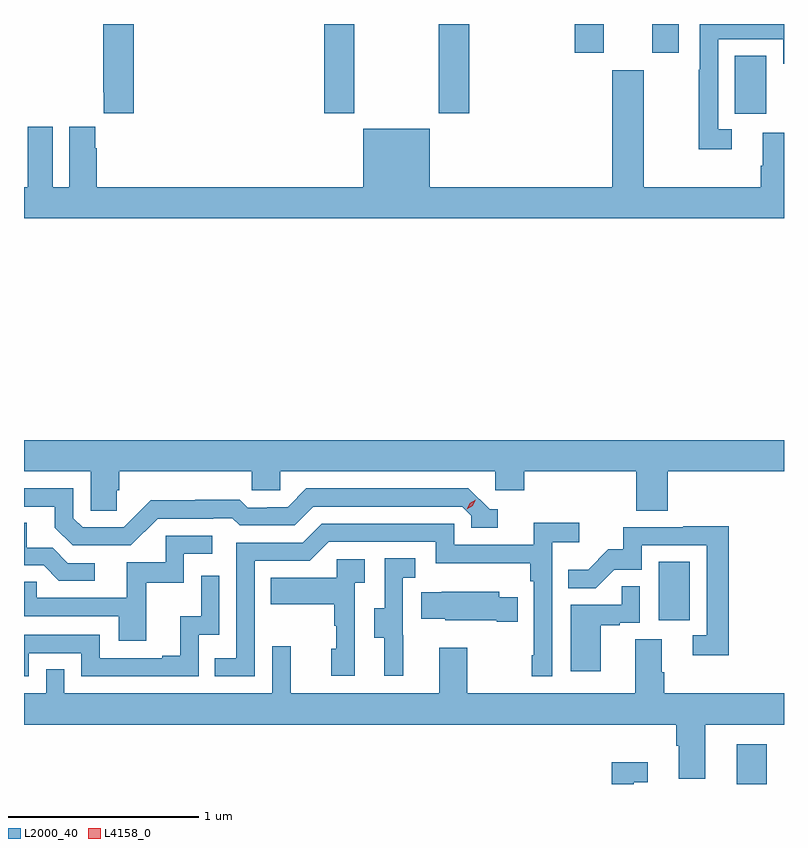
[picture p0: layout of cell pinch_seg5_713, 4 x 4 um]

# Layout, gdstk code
import gdstk
lib = gdstk.Library(unit=1e-6, precision=1e-09)
def R(c, l, rs):  # rectangles x0, y0, x1, y1
    for r in rs: c.add(gdstk.rectangle(r[:2], r[2:], *l))
def P(c, l, *ps):  # polygons
    for p in ps: c.add(gdstk.Polygon(p, *l))
L2000_40 = (2000, 40)
L4158_0 = (4158, 0)

pinch_seg5_713 = lib.new_cell('pinch_seg5_713')
R(pinch_seg5_713, L2000_40, [(1118.597,840.463,1118.755,840.673), (1118.186,841.326,1118.35,841.633), (1118.588,843.99,1118.752,844.297), (1116.425,843.993,1116.585,844.463), (1117.03,843.993,1117.19,844.463), (1117.745,844.311,1117.897,844.463), (1118.153,844.311,1118.293,844.463)])
P(pinch_seg5_713, L2000_40, [(1118.572,843.909),(1118.499,843.909),(1118.499,844.383),(1118.841,844.383),(1118.841,844.254),(1118.846,844.254),(1118.846,844.463),(1118.403,844.463),(1118.403,844.223),(1118.398,844.223),(1118.398,843.804),(1118.572,843.804)],
  [(1115.423,844.463),(1115.263,844.463),(1115.263,844.105),(1115.267,844.105),(1115.267,843.993),(1115.423,843.993)],
  [(1118.846,843.89),(1118.735,843.89),(1118.735,843.716),(1118.723,843.716),(1118.723,843.604),(1118.107,843.604),(1118.107,844.219),(1117.943,844.219),(1117.943,843.604),(1116.982,843.604),(1116.982,843.913),(1116.632,843.913),(1116.632,843.604),(1115.228,843.604),(1115.228,843.809),(1115.221,843.809),(1115.221,843.922),(1115.084,843.922),(1115.084,843.604),(1114.996,843.604),(1114.996,843.922),(1114.865,843.922),(1114.865,843.604),(1114.846,843.604),(1114.846,843.44),(1118.846,843.44)],
  [(1115.333,842.01),(1115.348,842.01),(1115.348,842.108),(1116.045,842.108),(1116.045,842.01),(1116.195,842.01),(1116.195,842.108),(1117.326,842.108),(1117.326,842.01),(1117.478,842.01),(1117.478,842.108),(1118.069,842.108),(1118.069,841.9),(1118.234,841.9),(1118.234,842.108),(1118.846,842.108),(1118.846,842.272),(1114.846,842.272),(1114.846,842.108),(1115.196,842.108),(1115.196,841.9),(1115.333,841.9)],
  [(1115.55,841.86),(1115.843,841.86),(1115.843,841.863),(1115.942,841.863),(1115.981,841.824),(1116.27,841.824),(1116.369,841.923),(1117.152,841.923),(1117.2,841.875),(1117.2,841.812),(1117.339,841.812),(1117.339,841.908),(1117.296,841.908),(1117.185,842.019),(1116.332,842.019),(1116.233,841.92),(1116.126,841.92),(1116.126,841.917),(1116.023,841.917),(1115.981,841.96),(1115.748,841.96),(1115.748,841.957),(1115.512,841.957),(1115.37,841.815),(1115.154,841.815),(1115.106,841.863),(1115.106,842.019),(1114.846,842.019),(1114.846,841.923),(1115.009,841.923),(1115.009,841.813),(1115.103,841.719),(1115.409,841.719)],
  [(1115.218,841.626),(1115.076,841.626),(1114.996,841.706),(1114.861,841.706),(1114.861,841.838),(1114.846,841.838),(1114.846,841.614),(1114.949,841.614),(1115.03,841.533),(1115.218,841.533)],
  [(1116.06,841.638),(1116.351,841.638),(1116.45,841.737),(1117.014,841.737),(1117.014,841.625),(1117.51,841.625),(1117.51,841.529),(1117.53,841.529),(1117.53,841.141),(1117.518,841.141),(1117.518,841.029),(1117.626,841.029),(1117.626,841.736),(1117.768,841.736),(1117.768,841.838),(1117.529,841.838),(1117.529,841.722),(1117.11,841.722),(1117.11,841.833),(1116.413,841.833),(1116.314,841.734),(1115.964,841.734),(1115.964,841.125),(1115.851,841.125),(1115.851,841.029),(1116.06,841.029)],
  [(1118.555,841.82),(1118.317,841.82),(1118.317,841.815),(1117.999,841.815),(1117.999,841.698),(1117.922,841.698),(1117.815,841.591),(1117.711,841.591),(1117.711,841.492),(1117.855,841.492),(1117.953,841.59),(1118.097,841.59),(1118.097,841.719),(1118.439,841.719),(1118.439,841.245),(1118.367,841.245),(1118.367,841.14),(1118.555,841.14)],
  [(1115.489,841.521),(1115.688,841.521),(1115.688,841.674),(1115.836,841.674),(1115.836,841.77),(1115.592,841.77),(1115.592,841.629),(1115.387,841.629),(1115.387,841.443),(1114.913,841.443),(1114.913,841.527),(1114.846,841.527),(1114.846,841.347),(1115.345,841.347),(1115.345,841.218),(1115.489,841.218)],
  [(1116.842,841.245),(1116.84,841.245),(1116.84,841.549),(1116.904,841.549),(1116.904,841.652),(1116.744,841.652),(1116.744,841.389),(1116.689,841.389),(1116.689,841.234),(1116.743,841.234),(1116.743,841.032),(1116.842,841.032)],
  [(1116.588,841.523),(1116.64,841.523),(1116.64,841.647),(1116.492,841.647),(1116.492,841.549),(1116.145,841.549),(1116.145,841.409),(1116.48,841.409),(1116.48,841.295),(1116.49,841.295),(1116.49,841.176),(1116.464,841.176),(1116.464,841.032),(1116.588,841.032)],
  [(1114.872,841.152),(1115.148,841.152),(1115.148,841.029),(1115.766,841.029),(1115.766,841.248),(1115.874,841.248),(1115.874,841.558),(1115.778,841.558),(1115.778,841.346),(1115.669,841.346),(1115.669,841.138),(1115.573,841.138),(1115.573,841.125),(1115.244,841.125),(1115.244,841.248),(1114.846,841.248),(1114.846,841.029),(1114.872,841.029)],
  [(1117.882,841.299),(1117.982,841.299),(1117.982,841.311),(1118.088,841.311),(1118.088,841.505),(1117.993,841.505),(1117.993,841.407),(1117.724,841.407),(1117.724,841.056),(1117.882,841.056)],
  [(1117.445,841.447),(1117.347,841.447),(1117.347,841.474),(1117.045,841.474),(1117.045,841.471),(1116.937,841.471),(1116.937,841.334),(1117.062,841.334),(1117.062,841.325),(1117.334,841.325),(1117.334,841.318),(1117.445,841.318)],
  [(1118.431,840.776),(1118.846,840.776),(1118.846,840.94),(1118.216,840.94),(1118.216,841.052),(1118.203,841.052),(1118.203,841.226),(1118.063,841.226),(1118.063,840.94),(1117.179,840.94),(1117.179,841.18),(1117.031,841.18),(1117.031,840.94),(1116.251,840.94),(1116.251,841.189),(1116.153,841.189),(1116.153,840.94),(1115.058,840.94),(1115.058,841.067),(1114.962,841.067),(1114.962,840.94),(1114.846,840.94),(1114.846,840.776),(1118.279,840.776),(1118.279,840.664),(1118.291,840.664),(1118.291,840.49),(1118.431,840.49)],
  [(1118.055,840.471),(1118.128,840.471),(1118.128,840.577),(1117.939,840.577),(1117.939,840.463),(1118.055,840.463)])
P(pinch_seg5_713, L4158_0, [(1117.177,841.908),(1117.177,841.909),(1117.193,841.941),(1117.224,841.96),(1117.224,841.96),(1117.224,841.96),(1117.208,841.928),(1117.177,841.908)])

lib.write_gds('pinch_seg5_713.gds')
